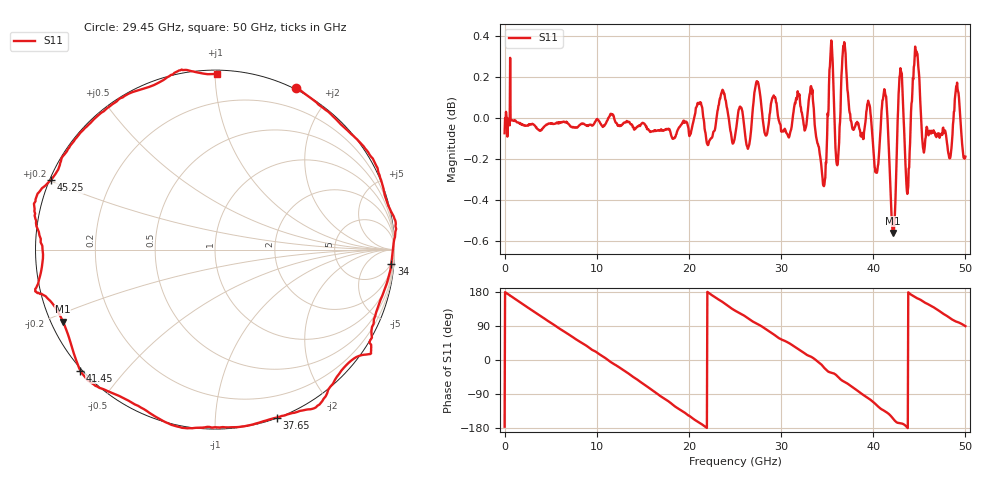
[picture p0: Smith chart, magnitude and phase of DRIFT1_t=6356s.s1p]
!Created with skrf (http://scikit-rf.org).
# Hz S RI R 50.0
!freq ReS11 ImS11
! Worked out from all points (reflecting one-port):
!   1001 points, 300 kHz to 50 GHz, reference 50 ohm
!   lowest |S11| = -0.6 dB at 42.15 GHz (marker M1), VSWR 31.09, Z = 1.69 - j11.2 ohm
!   phase of S11 starts at -176 deg and turns -815 deg over the sweep
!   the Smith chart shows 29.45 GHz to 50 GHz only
!   S11 on the Smith chart (normalised r, x): 29.45 GHz: -0.02, +1.62; 34 GHz: 4, -24; 37.65 GHz: 0.00, -1.43; 41.45 GHz: -0.00, -0.38; 45.25 GHz: 0.00, +0.20; 50 GHz: 0.02, +1.01
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300000  -0.9892 -0.0687
1.550291e9  -0.8991 0.4312
3.30028e9  -0.5811 0.8085
6.250262e9  0.2009 0.9772
9.500243e9  0.8901 0.4469
1.115023e10  0.9985 0.0206
1.250022e10  0.9332 -0.3476
1.580021e10  0.2421 -0.9622
1.73502e10  -0.2084 -0.9712
1.875019e10  -0.5945 -0.7953
2.155017e10  -0.9911 -0.1371
2.350016e10  -0.9217 0.4221
2.500015e10  -0.6404 0.7547
2.735014e10  -0.1101 1.015
2.945012e10  0.4525 0.9016
3.125011e10  0.7813 0.6233
3.40001e10  0.9824 -0.0787
3.520009e10  0.87 -0.5301
3.750008e10  0.3874 -0.9243
3.765007e10  0.3441 -0.9359
3.950006e10  -0.1973 -0.9885
4.145005e10  -0.7498 -0.6739
4.215005e10  -0.8475 -0.4012
4.290004e10  -0.9968 -0.2366
4.375004e10  -0.9606 -0.00325
4.525003e10  -0.9159 0.387
4.770001e10  -0.5043 0.8555
5e10  0.0114 0.9786
